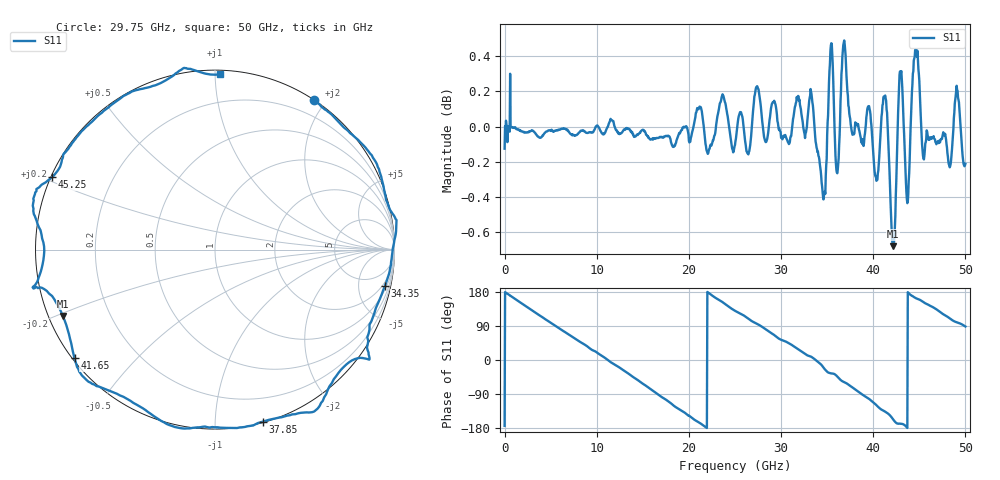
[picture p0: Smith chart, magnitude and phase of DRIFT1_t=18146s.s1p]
!Created with skrf (http://scikit-rf.org).
# Hz S RI R 50.0
!freq ReS11 ImS11
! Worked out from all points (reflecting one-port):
!   1001 points, 300 kHz to 50 GHz, reference 50 ohm
!   lowest |S11| = -0.7 dB at 42.15 GHz (marker M1), VSWR 25.65, Z = 2.03 - j10.4 ohm
!   phase of S11 starts at -174 deg and turns -818 deg over the sweep
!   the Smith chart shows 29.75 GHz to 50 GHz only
!   S11 on the Smith chart (normalised r, x): 29.75 GHz: 0.00, +1.86; 34.35 GHz: 1.39, -9.14; 37.85 GHz: 0.01, -1.32; 41.65 GHz: 0.01, -0.34; 45.25 GHz: 0.00, +0.21; 50 GHz: 0.02, +1.03
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300000  -0.9801 -0.1048
1.450291e9  -0.9123 0.4054
3.25028e9  -0.5917 0.8015
6.250262e9  0.2025 0.9779
9.500243e9  0.8928 0.4416
1.250022e10  0.932 -0.3497
1.580021e10  0.2367 -0.9629
1.74002e10  -0.2239 -0.968
1.875019e10  -0.5989 -0.7918
2.150017e10  -0.9935 -0.151
2.350016e10  -0.9229 0.4283
2.500015e10  -0.633 0.7586
2.740014e10  -0.0943 1.022
2.975012e10  0.551 0.8323
3.125011e10  0.7875 0.6201
3.31501e10  1.006 0.1709
3.435009e10  0.9465 -0.2049
3.520009e10  0.8553 -0.5727
3.750008e10  0.3711 -0.9341
3.785007e10  0.2679 -0.9582
3.960006e10  -0.2375 -0.9832
4.165005e10  -0.7826 -0.6059
4.215005e10  -0.8477 -0.37
4.290004e10  -1.015 -0.2123
4.375004e10  -0.9521 0.0167
4.525003e10  -0.9091 0.4029
4.770001e10  -0.4883 0.8669
5e10  0.0269 0.9757
